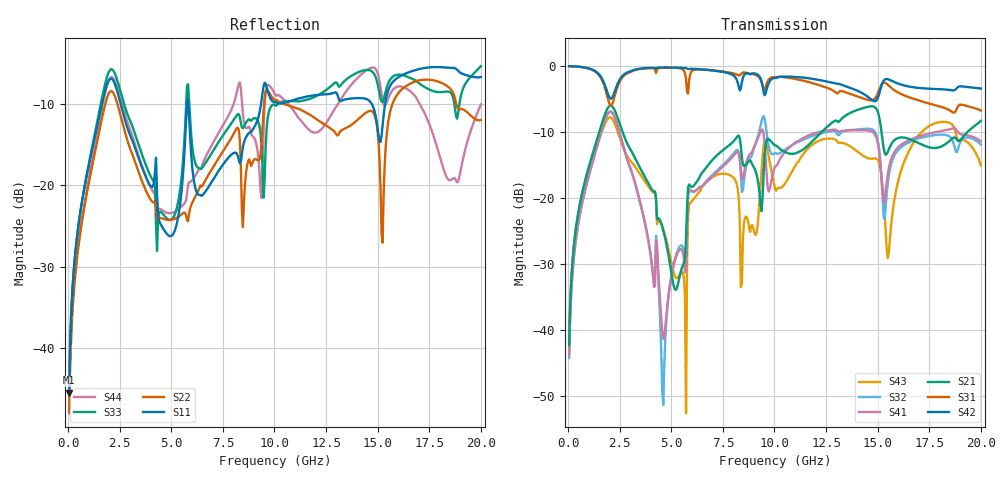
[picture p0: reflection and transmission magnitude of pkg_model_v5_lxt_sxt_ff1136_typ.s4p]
! FREQUENCY SAMPLE POINTS =	400
! NUMBER OF PORTS  =	4
! XC5VLX110T - MGT_TX_118
! PORT#  PORT_NAME  NET_NAME
!  Port1:  B1-AE2  MGTTXN0_118
!  Port2:  B1-AD2  MGTTXP0_118
!  Port3:  D1-1589  MGTTXN0_118
!  Port4:  D1-1586  MGTTXP0_118
#  Hz  S  RI  R  50.00
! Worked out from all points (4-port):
!   399 points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, 50.12 MHz to 20 GHz, reference 50 ohm
!   strongest paths, dB at 50.12 MHz, 5.013 GHz, 10.03 GHz, 15.04 GHz, 20 GHz:
!     S42: 0.0, -0.2, -1.8, -4.6, -3.4
!     S31: 0.0, -0.2, -1.7, -3.9, -6.7
!     S21: -42.3, -31.5, -12.0, -7.3, -8.3
!     S41: -43.8, -31.8, -15.3, -12.2, -11.4
!     S32: -44.2, -31.5, -13.2, -11.8, -11.9
!     S43: -42.4, -29.9, -18.6, -14.4, -15.1
!   lowest |S11| = -45.5 dB at 50.12 MHz (marker M1), VSWR 1.01, Z = 50.1 + j0.516 ohm
!   |S11| at or under -10 dB: start of sweep to 1.643 GHz; 2.552 GHz to 5.755 GHz (3.203 GHz wide, 77.1 % of centre); 5.827 GHz to 9.346 GHz (3.52 GHz wide, 46.4 % of centre)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
5.0125e7  0.00125 0.00514  0.00154 0.00754  0.9977 -0.0336  -0.00172 -0.00619
          0.00154 0.00754  0.00113 0.00388  -0.00183 -0.00587  0.9978 -0.0327
          0.9977 -0.0336  -0.00183 -0.00587  0.00178 0.00493  0.00212 0.00732
          -0.00172 -0.00619  0.9978 -0.0327  0.00212 0.00732  0.00183 0.0035
2.0551e9  0.4516 -0.0441  0.502 -0.0136  0.1989 -0.4609  -0.2296 0.3895
          0.502 -0.0136  0.3768 -0.0441  -0.2253 0.3941  0.236 -0.5144
          0.1989 -0.4609  -0.2253 0.3941  -0.2889 -0.4274  -0.1882 -0.3624
          -0.2296 0.3895  0.236 -0.5144  -0.1882 -0.3624  -0.2581 -0.3824
4.6115e9  -0.0475 -0.026  -0.0099 -0.056  -0.7756 -0.5884  0.00665 0.0054
          -0.0099 -0.056  -0.0305 -0.0542  0.000926 0.00255  -0.7643 -0.6055
          -0.7756 -0.5884  0.000926 0.00255  0.0443 0.0492  0.0583 -1.92e-05
          0.00665 0.0054  -0.7643 -0.6055  0.0583 -1.92e-05  0.0645 0.0257
5.7143e9  0.1958 0.1567  -0.0426 0.023  -0.7746 0.2037  -0.0206 0.0182
          -0.0426 0.023  -0.0648 -0.0123  -0.0241 0.0264  -0.9646 0.0041
          -0.7746 0.2037  -0.0241 0.0264  0.1972 0.2324  0.00205 -0.00114
          -0.0206 0.0182  -0.9646 0.0041  0.00205 -0.00114  0.08 -0.0123
5.8647e9  0.0767 -0.2468  -0.041 0.12  -0.7728 -0.1113  -0.0433 0.1092
          -0.041 0.12  -0.0644 -0.018  -0.0432 0.1069  -0.9473 0.0778
          -0.7728 -0.1113  -0.0432 0.1069  0.2966 -0.1373  -0.0407 0.0785
          -0.0433 0.1092  -0.9473 0.0778  -0.0407 0.0785  0.1002 -0.03
9.4737e9  0.0776 0.4017  0.0727 0.1373  0.4092 0.5316  0.0112 -0.309
          0.0727 0.1373  -0.1521 0.2492  0.2129 -0.3595  0.3935 0.5023
          0.4092 0.5316  0.2129 -0.3595  -0.075 -0.0377  0.2484 -0.00836
          0.0112 -0.309  0.3935 0.5023  0.2484 -0.00836  0.0791 -0.2073
2e10  0.346 -0.3088  0.1704 -0.3445  -0.0217 0.4604  0.0796 -0.2573
      0.1704 -0.3445  0.2426 -0.07  0.0824 -0.2405  -0.0674 0.6725
      -0.0217 0.4604  0.0824 -0.2405  0.1585 -0.5173  0.0687 -0.1625
      0.0796 -0.2573  -0.0674 0.6725  0.0687 -0.1625  0.134 -0.2851
